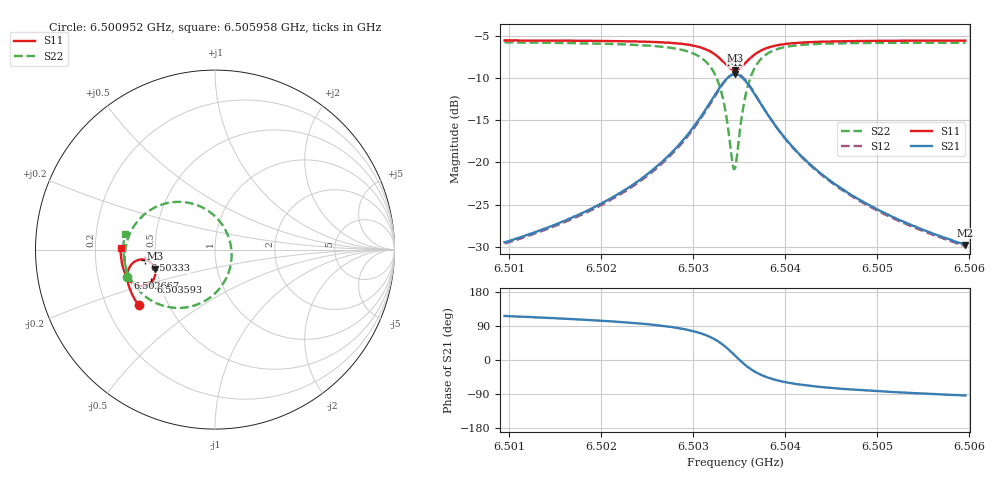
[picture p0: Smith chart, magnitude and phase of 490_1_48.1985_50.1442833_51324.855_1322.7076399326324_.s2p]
#  HZ  S  RI  R  50.00
! Rohde & Schwarz Vector Network Analyzer
! Rohde-Schwarz,ZNB20-2Port,1311601062101988,3.16
! Created: UTC 3/20/2024, 11:58:01 AM
! freq[Hz]  re:S11  im:S11  re:S21  im:S21  re:S12  im:S12  re:S22  im:S22
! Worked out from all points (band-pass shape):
!   401 points, 6.500952 GHz to 6.505958 GHz, reference 50 ohm
!   highest |S21| = -9.56 dB at 6.503455 GHz (marker M1); lowest = -29.8 dB at 6.505958 GHz (marker M2)
!   |S21| within 3 dB of the highest: 6.503205 GHz to 6.503706 GHz (501.1 kHz wide, 0.0077 % of centre)
!   lowest |S11| = -9.1 dB at 6.503455 GHz (marker M3), VSWR 2.09, Z = 24.4 - j5.92 ohm
!   |S11| at or under -10 dB: nowhere
!   |S22| runs from -20.8 to -5.8 dB; largest |S21 - S12| = 0.011
!   S11 on the Smith chart (normalised r, x): 6.500952 GHz: 0.34, -0.29; 6.502667 GHz: 0.33, -0.14; 6.50333 GHz: 0.44, -0.06; 6.503593 GHz: 0.45, -0.19; 6.505958 GHz: 0.31, +0.01
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6.5009521e9  -0.4262 -0.31  -0.0149 0.0302  -0.0134 0.0303  -0.4896 -0.1551
6.5017906e9  -0.4624 -0.2481  -0.0143 0.0481  -0.0118 0.0476  -0.5028 -0.066
6.5022912e9  -0.4798 -0.2031  -0.0108 0.0698  -0.00775 0.0686  -0.4987 0.00616
6.5026291e9  -0.4876 -0.1652  -0.00216 0.097  0.00121 0.0949  -0.48 0.0753
6.5026666e9  -0.488 -0.1604  -0.000404 0.1012  0.00314 0.0989  -0.4761 0.0847
6.5029419e9  -0.484 -0.1174  0.0264 0.1439  0.03 0.1398  -0.4203 0.1707
6.5031297e9  -0.4623 -0.0791  0.081 0.1863  0.0832 0.1805  -0.3163 0.2433
6.5032423e9  -0.4295 -0.0584  0.1506 0.204  0.1511 0.1981  -0.1909 0.2659
6.5033299e9  -0.3887 -0.0566  0.2308 0.1878  0.2309 0.1833  -0.0527 0.2253
6.50343e9  -0.342 -0.0915  0.3154 0.0998  0.3183 0.0955  0.0808 0.0537
6.503455e9  -0.3355 -0.1063  0.3258 0.0671  0.3293 0.0622  0.0919 -0.0071
6.5034801e9  -0.3325 -0.1222  0.3294 0.0331  0.3334 0.0269  0.0899 -0.0692
6.5035426e9  -0.3396 -0.16  0.3112 -0.0457  0.3138 -0.0551  0.0338 -0.2064
6.5035927e9  -0.3561 -0.1823  0.2773 -0.0918  0.2775 -0.1026  -0.0433 -0.2781
6.5036428e9  -0.3764 -0.1956  0.238 -0.1203  0.2357 -0.1311  -0.1255 -0.3146
6.5037053e9  -0.4011 -0.2021  0.1919 -0.1368  0.1871 -0.1463  -0.2159 -0.3249
6.503868e9  -0.4477 -0.1926  0.1093 -0.1336  0.1027 -0.1387  -0.3648 -0.2778
6.5040432e9  -0.4753 -0.1712  0.0645 -0.1132  0.0584 -0.1155  -0.4375 -0.2123
6.5042935e9  -0.4962 -0.1413  0.0343 -0.0885  0.0297 -0.0891  -0.4814 -0.1398
6.5047065e9  -0.5131 -0.0982  0.014 -0.0633  0.0108 -0.063  -0.5051 -0.0585
6.505132e9  -0.5214 -0.0591  0.00501 -0.0484  0.00288 -0.0477  -0.5102 0.0012
6.505958e9  -0.5264 0.011  -0.00211 -0.0324  -0.00336 -0.0318  -0.5027 0.0888
